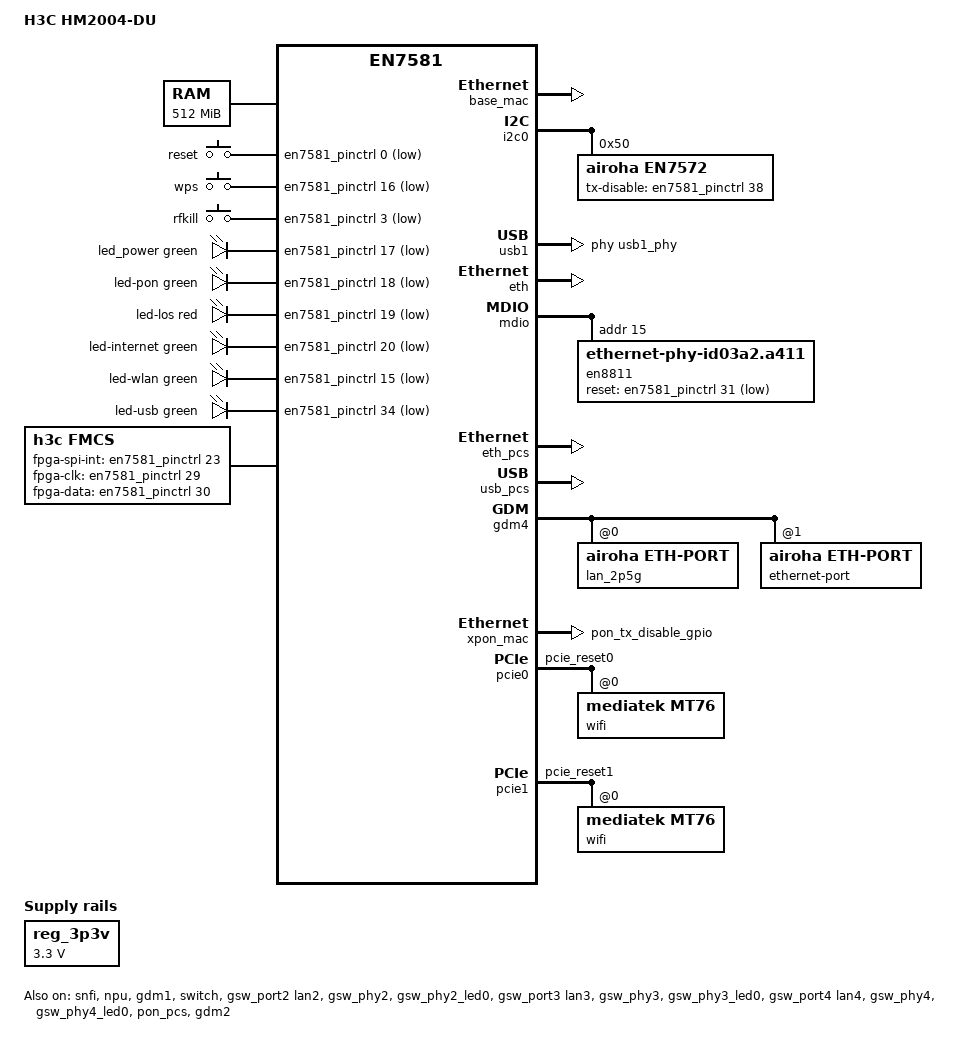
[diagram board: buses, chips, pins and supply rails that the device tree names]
// SPDX-License-Identifier: (GPL-2.0-only OR BSD-2-Clause)
/dts-v1/;

/memreserve/ 0x80000000 0x200000;

#include <dt-bindings/gpio/gpio.h>
#include <dt-bindings/input/input.h>
#include <dt-bindings/leds/common.h>
#include "an7581.dtsi"

/ {
	model = "H3C HM2004-DU";
	compatible = "h3c,hm2004-du", "airoha,an7581", "airoha,en7581";

	aliases {
		label-mac-device = &lan_2p5g;
		led-boot = &led_power;
		led-failsafe = &led_power;
		led-running = &led_power;
		led-upgrade = &led_power;

		serial0 = &uart1;
	};

	chosen {
		/* fitblk locates the FIT-embedded read-only rootfs volume. */
		rootdisk = <&ubi_fit>;
		bootargs = "console=ttyS0,115200 earlycon";
		stdout-path = "serial0:115200n8";
	};

	/* Stock U-Boot env sets dram_limit=512M and patches the DTB. */
	memory@80000000 {
		device_type = "memory";
		reg = <0x0 0x80000000 0x0 0x20000000>;
	};

	keys {
		compatible = "gpio-keys";

		key-reset {
			label = "reset";
			linux,code = <KEY_RESTART>;
			gpios = <&en7581_pinctrl 0 GPIO_ACTIVE_LOW>;
			debounce-interval = <60>;
		};

		key-wps {
			label = "wps";
			linux,code = <KEY_WPS_BUTTON>;
			gpios = <&en7581_pinctrl 16 GPIO_ACTIVE_LOW>;
			debounce-interval = <60>;
		};

		key-rfkill {
			label = "rfkill";
			linux,code = <KEY_RFKILL>;
			gpios = <&en7581_pinctrl 3 GPIO_ACTIVE_LOW>;
			debounce-interval = <60>;
		};
	};

	leds {
		compatible = "gpio-leds";

		led_power: led-power {
			color = <LED_COLOR_ID_GREEN>;
			function = LED_FUNCTION_POWER;
			gpios = <&en7581_pinctrl 17 GPIO_ACTIVE_LOW>;
			default-state = "on";
			panic-indicator;
		};

		led-pon {
			color = <LED_COLOR_ID_GREEN>;
			function = LED_FUNCTION_WAN;
			gpios = <&en7581_pinctrl 18 GPIO_ACTIVE_LOW>;
			/* Registration maps O1-O3 to fast blink, O4 to slow blink, and O5 on. */
			linux,default-trigger = "pon0-registration";
		};

		led-los {
			color = <LED_COLOR_ID_RED>;
			function = LED_FUNCTION_WAN;
			gpios = <&en7581_pinctrl 19 GPIO_ACTIVE_LOW>;
			linux,default-trigger = "pon0-los";
		};

		led-internet {
			color = <LED_COLOR_ID_GREEN>;
			function = LED_FUNCTION_WAN_ONLINE;
			/* TODO(verify): stock env internet_gpio=14 -> 0x14; not measured. */
			gpios = <&en7581_pinctrl 20 GPIO_ACTIVE_LOW>;
			linux,default-trigger = "pon0-online";
		};

		led-wlan {
			color = <LED_COLOR_ID_GREEN>;
			function = LED_FUNCTION_WLAN;
			gpios = <&en7581_pinctrl 15 GPIO_ACTIVE_LOW>;
		};

		led-usb {
			color = <LED_COLOR_ID_GREEN>;
			function = LED_FUNCTION_USB;
			gpios = <&en7581_pinctrl 34 GPIO_ACTIVE_LOW>;
			linux,default-trigger = "usbport";
			trigger-sources = <&usb_port2>;
		};
	};

	/* The USB PHY 3.3V reference supply is always on. */
	reg_3p3v: regulator-3p3v {
		compatible = "regulator-fixed";
		regulator-always-on;
		regulator-boot-on;
		regulator-min-microvolt = <3300000>;
		regulator-max-microvolt = <3300000>;
		regulator-name = "fixed-3.3V";
	};

	fmcs: fmcs {
		compatible = "h3c,fmcs";
		spi-controller = <&snfi>;
		fpga-spi-int-gpios = <&en7581_pinctrl 23 GPIO_ACTIVE_HIGH>;
		fpga-clk-gpios = <&en7581_pinctrl 29 GPIO_ACTIVE_HIGH>;
		fpga-data-gpios = <&en7581_pinctrl 30 GPIO_ACTIVE_HIGH>;
		nvmem-cell-names = "mac-address";
		nvmem-cells = <&base_mac 9>;
		status = "okay";
	};
};

&en7581_pinctrl {
	gpio-ranges = <&en7581_pinctrl 0 13 50>;

	pon_pins: pon-pins {
		mux {
			/* Leave GPIO38/TX_DISABLE under optical frontend control. */
			function = "pon";
			groups = "pon_tx_disable_gpio";
		};
	};

	mdio_pins: mdio-pins {
		mux {
			function = "mdio";
			groups = "mdio";
		};
	};

	gswp2_led0_pins: gswp2-led0-pins {
		mux {
			function = "phy2_led0";
			pins = "gpio44";
		};
	};

	gswp3_led0_pins: gswp3-led0-pins {
		mux {
			function = "phy3_led0";
			pins = "gpio45";
		};
	};

	gswp4_led0_pins: gswp4-led0-pins {
		mux {
			function = "phy4_led0";
			pins = "gpio46";
		};
	};
};

/* The stock flash is SPI-NAND accessed through the SNFI (SPI2NFI) engine. */
&snfi {
	status = "okay";
};

&spi_nand {
	nand-ecc-engine = <&spi_nand>;

	partitions: partitions {
		compatible = "fixed-partitions";
		#address-cells = <1>;
		#size-cells = <1>;

		/* BootROM reads the BL2 FIP at offset 0x800 in the first eraseblock. */
		partition@0 {
			label = "bl2";
			reg = <0x00000000 0x00020000>;
			read-only;
		};

		/* UBI manages every eraseblock after BL2. */
		partition@20000 {
			label = "ubi";
			reg = <0x00020000 0x00000000>;
			compatible = "linux,ubi";

			volumes {
				ubi_fip: ubi-volume-fip {
					/* The second-stage FIP contains BL31 and U-Boot. */
					volname = "fip";
				};

				ubi_env: ubi-volume-ubootenv {
					volname = "ubootenv";
				};

				ubi_env2: ubi-volume-ubootenv2 {
					volname = "ubootenv2";
				};

				factory: ubi-volume-factory {
					volname = "factory";

					/*
					 * This board's factory UBI volume is 1 MiB (0x100000),
					 * so the vendor's "true" offsets (0x140005 / 0x14102c /
					 * 0x1c0400 / 0x4c000, which live in the 0x240000-byte
					 * reservearea) are out of range here. Use the compact
					 * 1 MiB layout defined by the h3c-hm2004du-factory
					 * editor (github.com/qwe3017/h3c-hm2004du-factory):
					 *   0x0000  magic "H3C-1MiB" (8 ASCII bytes)
					 *   0x0010  label / lan1 MAC, six raw bytes
					 *   0x0020  eth0 MAC, six raw bytes
					 *   0x0030  pon0 MAC, six raw bytes
					 *   0x0040  5G radio MAC, six raw bytes
					 *   0x0050  2.4G radio MAC, six raw bytes
					 *   0x0060  Device SN, 12-byte ASCII
					 *   0x1000  Wi-Fi EEPROM, 0x1000 (MT7916 DBDC)
					 *   0x2000  PON calibration, 0x200 (EN7572)
					 *
					 * Every MAC the board needs is read out of this
					 * volume and nothing else: the four per-interface
					 * slots are consumed verbatim, and the three GSW
					 * LAN ports - which the compact format has no slot
					 * for - are derived from 0x10 by the mac-base cell.
					 */
					h3c_hm2004du_layout: nvmem-layout {
						compatible = "fixed-layout";
						#address-cells = <1>;
						#size-cells = <1>;

						factory_magic: magic@0 {
							reg = <0x00000000 0x00000008>;
						};

						base_mac: base-mac@10 {
							compatible = "mac-base";
							reg = <0x00000010 0x00000006>;
							#nvmem-cell-cells = <1>;
						};

						/* Per-interface slots, consumed verbatim. */
						mac_eth0: mac-eth0@20 {
							reg = <0x00000020 0x00000006>;
						};

						mac_pon0: mac-pon0@30 {
							reg = <0x00000030 0x00000006>;
						};

						mac_5g: mac-5g@40 {
							reg = <0x00000040 0x00000006>;
						};

						mac_24g: mac-24g@50 {
							reg = <0x00000050 0x00000006>;
						};

						pon_serial: pon-serial@60 {
							reg = <0x00000060 0x0000000c>;
						};

						pon_calibration: calibration@2000 {
							reg = <0x00002000 0x00000200>;
						};

						wifi_eeprom: eeprom@1000 {
							reg = <0x00001000 0x00001000>;
						};
					};
				};

				ubi_fit: ubi-volume-fit {
					/* The fit volume contains the kernel and read-only rootfs. */
					volname = "fit";
				};
			};
		};
	};
};


&ubi_env {
	nvmem-layout {
		compatible = "u-boot,env-redundant-bool-layout";
	};
};

&ubi_env2 {
	nvmem-layout {
		compatible = "u-boot,env-redundant-bool-layout";
	};
};

&i2c0 {
	status = "okay";
	en7572: optical-front-end@50 {
		compatible = "airoha,en7572";
		reg = <0x50>;
		/* GPIO38 high disables upstream optical transmission. */
		tx-disable-gpios = <&en7581_pinctrl 38 GPIO_ACTIVE_HIGH>;
		nvmem-cells = <&pon_calibration>;
		nvmem-cell-names = "calibration";
	};
};


&usb1 {
	status = "okay";
	mediatek,u3p-dis-msk = <0x1>;
	phys = <&usb1_phy PHY_TYPE_USB2>;
	vusb33-supply = <&reg_3p3v>;
	#address-cells = <1>;
	#size-cells = <0>;
	usb_port2: port@1 { reg = <1>; #trigger-source-cells = <0>; };
};


&npu {
	status = "okay";
};

&eth {
	status = "okay";
};

&gdm1 {
	nvmem-cell-names = "mac-address";
	nvmem-cells = <&mac_eth0>;
	status = "okay";
};

&mdio {
	/* Reserved for the FMCS downlink FPGA (see the fmcs node): the stock
	 * bus also lists 0x0d/0x0e beside the EN8811H at 0x0f. They are not
	 * declared - no driver, so they would only probe as phantom PHYs -
	 * and must not be reused for anything else. */

	en8811: ethernet-phy@f {
		compatible = "ethernet-phy-id03a2.a411";
		reg = <0xf>;
		reset-gpios = <&en7581_pinctrl 31 GPIO_ACTIVE_LOW>;
		reset-assert-us = <10000>;
		reset-deassert-us = <20000>;

		leds {
			#address-cells = <1>;
			#size-cells = <0>;

			led-0 {
				reg = <0>;
				color = <LED_COLOR_ID_GREEN>;
				function = LED_FUNCTION_LAN;
				function-enumerator = <1>;
				default-state = "keep";
			};
		};
	};
};

&eth_pcs {
	/* HSGMII carries the EN8811H 2500BASE-X host link. */
	status = "okay";
};

&usb_pcs {
	/* USB1 SerDes is wired to the downstream FMCS FPGA. */
	status = "okay";
};

&gdm4 {
	/delete-property/ pcs-handle;
	#address-cells = <1>;
	#size-cells = <0>;
	status = "okay";

	/* NBQ0 retains the panel EN8811H port and its label MAC. */
	lan_2p5g: ethernet-port@0 {
		compatible = "airoha,eth-port";
		reg = <0>;
		pcs-handle = <&eth_pcs>;
		phy-handle = <&en8811>;
		phy-mode = "2500base-x";
		nvmem-cell-names = "mac-address";
		nvmem-cells = <&base_mac 0>;
		openwrt,netdev-name = "lan1";
	};

	/* Stock serdes_usb1=11 / fttr_olt_sel=4 selects USB HSGMII, NBQ1. */
	ethernet-port@1 {
		compatible = "airoha,eth-port";
		reg = <1>;
		pcs-handle = <&usb_pcs>;
		phy-mode = "2500base-x";
		openwrt,netdev-name = "fttr0";
		nvmem-cell-names = "mac-address";
		nvmem-cells = <&base_mac 3>;

		fixed-link {
			speed = <2500>;
			full-duplex;
		};
	};
};

&switch {
	pinctrl-names = "default";
	pinctrl-0 = <&mdio_pins>;
	status = "okay";
};


&gsw_port2 {
	label = "lan2";
	nvmem-cell-names = "mac-address";
	nvmem-cells = <&base_mac 6>;
	status = "okay";
};

&gsw_phy2 {
	interrupts = <2>;
	pinctrl-names = "gbe-led";
	pinctrl-0 = <&gswp2_led0_pins>;
	status = "okay";
};

&gsw_phy2_led0 {
	color = <LED_COLOR_ID_GREEN>;
	function = LED_FUNCTION_LAN;
	function-enumerator = <2>;
	active-low;
	status = "okay";
};

&gsw_port3 {
	label = "lan3";
	nvmem-cell-names = "mac-address";
	nvmem-cells = <&base_mac 7>;
	status = "okay";
};

&gsw_phy3 {
	interrupts = <3>;
	pinctrl-names = "gbe-led";
	pinctrl-0 = <&gswp3_led0_pins>;
	status = "okay";
};

&gsw_phy3_led0 {
	color = <LED_COLOR_ID_GREEN>;
	function = LED_FUNCTION_LAN;
	function-enumerator = <3>;
	active-low;
	status = "okay";
};

&gsw_port4 {
	label = "lan4";
	nvmem-cell-names = "mac-address";
	nvmem-cells = <&base_mac 8>;
	status = "okay";
};

&gsw_phy4 {
	interrupts = <4>;
	pinctrl-names = "gbe-led";
	pinctrl-0 = <&gswp4_led0_pins>;
	status = "okay";
};

&gsw_phy4_led0 {
	color = <LED_COLOR_ID_GREEN>;
	function = LED_FUNCTION_LAN;
	function-enumerator = <4>;
	active-low;
	status = "okay";
};

&pon_pcs {
	status = "okay";
};

&xpon_mac {
	pinctrl-names = "default";
	pinctrl-0 = <&pon_pins>;
	optical-front-end = <&en7572>;
	nvmem-cells = <&pon_serial>;
	nvmem-cell-names = "pon-serial";
	data-path = <&gdm2>;
	status = "okay";
};

&gdm2 {
	/* XG-PON/10G-EPON upstream; GPON mode is selected by ponctl.
	 * The 0x30 slot of the factory volume, so the two L2 domains
	 * cannot collide with the LAN side. */
	nvmem-cell-names = "mac-address";
	nvmem-cells = <&mac_pon0>;
	airoha,pon-data-path;
	status = "okay";
};

&en7581_pinctrl {
	pcie0_rst_pins: pcie0-rst-pins {
		conf {
			pins = "pcie_reset0";
			drive-open-drain = <1>;
		};
	};

	pcie1_rst_pins: pcie1-rst-pins {
		conf {
			pins = "pcie_reset1";
			drive-open-drain = <1>;
		};
	};
};

&pcie0 {
	status = "okay";
	max-link-speed = <2>;
	pinctrl-names = "default";
	pinctrl-0 = <&pcie0_rst_pins>;

	pcie@0,0 {
		reg = <0x0000 0 0 0 0>;

		wifi@0,0 {
			compatible = "mediatek,mt76";
			reg = <0x0000 0 0 0 0>;
		};
	};
};

&pcie1 {
	status = "okay";
	max-link-speed = <2>;
	pinctrl-names = "default";
	pinctrl-0 = <&pcie1_rst_pins>;

	pcie@0,0 {
		reg = <0x0000 0 0 0 0>;

		wifi@0,0 {
			compatible = "mediatek,mt76";
			reg = <0x0000 0 0 0 0>;
			nvmem-cells = <&wifi_eeprom>;
			nvmem-cell-names = "eeprom";
			mediatek,eeprom-merge-otp;
			airoha,npu = <&npu>;
			airoha,eth = <&eth>;
			band@0 {
				reg = <0>;
				nvmem-cells = <&mac_24g>;
				nvmem-cell-names = "mac-address";
			};

			band@1 {
				reg = <1>;
				nvmem-cells = <&mac_5g>;
				nvmem-cell-names = "mac-address";
			};
		};
	};
};
